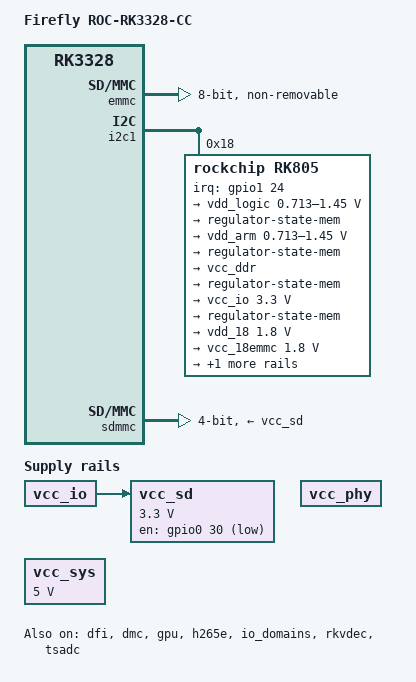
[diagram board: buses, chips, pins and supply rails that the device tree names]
/*
 * Copyright (c) 2016 Fuzhou Rockchip Electronics Co., Ltd
 *
 * This file is dual-licensed: you can use it either under the terms
 * of the GPL or the X11 license, at your option. Note that this dual
 * licensing only applies to this file, and not this project as a
 * whole.
 *
 *  a) This library is free software; you can redistribute it and/or
 *     modify it under the terms of the GNU General Public License as
 *     published by the Free Software Foundation; either version 2 of the
 *     License, or (at your option) any later version.
 *
 *     This library is distributed in the hope that it will be useful,
 *     but WITHOUT ANY WARRANTY; without even the implied warranty of
 *     MERCHANTABILITY or FITNESS FOR A PARTICULAR PURPOSE.  See the
 *     GNU General Public License for more details.
 *
 * Or, alternatively,
 *
 *  b) Permission is hereby granted, free of charge, to any person
 *     obtaining a copy of this software and associated documentation
 *     files (the "Software"), to deal in the Software without
 *     restriction, including without limitation the rights to use,
 *     copy, modify, merge, publish, distribute, sublicense, and/or
 *     sell copies of the Software, and to permit persons to whom the
 *     Software is furnished to do so, subject to the following
 *     conditions:
 *
 *     The above copyright notice and this permission notice shall be
 *     included in all copies or substantial portions of the Software.
 *
 *     THE SOFTWARE IS PROVIDED "AS IS", WITHOUT WARRANTY OF ANY KIND,
 *     EXPRESS OR IMPLIED, INCLUDING BUT NOT LIMITED TO THE WARRANTIES
 *     OF MERCHANTABILITY, FITNESS FOR A PARTICULAR PURPOSE AND
 *     NONINFRINGEMENT. IN NO EVENT SHALL THE AUTHORS OR COPYRIGHT
 *     HOLDERS BE LIABLE FOR ANY CLAIM, DAMAGES OR OTHER LIABILITY,
 *     WHETHER IN AN ACTION OF CONTRACT, TORT OR OTHERWISE, ARISING
 *     FROM, OUT OF OR IN CONNECTION WITH THE SOFTWARE OR THE USE OR
 *     OTHER DEALINGS IN THE SOFTWARE.
 */

/dts-v1/;
#include "rk3328.dtsi"
#include "rk3328-android.dtsi"
#include <dt-bindings/input/input.h>
#include "rk3328-box-plus-dram-timing.dtsi"

/ {
	model = "Firefly ROC-RK3328-CC";
	compatible = "firefly,roc-rk3328-cc", "rockchip,rk3328";
	
	chosen {
		bootargs = "rockchip_jtag earlyprintk=uart8250-32bit,0xff130000 swiotlb=1 kpti=0 console=ttyFIQ0 rw root=PARTUUID=614e0000-0000 rootfstype=ext4 rootwait systemd.gpt_auto=0";
		stdout-path = "serial2:1500000n8";
	};

	fiq-debugger {
		compatible = "rockchip,fiq-debugger";
		rockchip,serial-id = <2>;
		rockchip,signal-irq = <159>;
		rockchip,wake-irq = <0>;
		/* If enable uart uses irq instead of fiq */
		rockchip,irq-mode-enable = <0>;
		rockchip,baudrate = <1500000>;  /* Only 115200 and 1500000 */
		interrupts = <GIC_SPI 127 IRQ_TYPE_LEVEL_LOW>;
		status = "okay";
	};

	vcc_phy: vcc-phy-regulator {
		compatible = "regulator-fixed";
		regulator-name = "vcc_phy";
		regulator-always-on;
		regulator-boot-on;
	};

	vcc_sd: sdmmc-regulator {
		compatible = "regulator-fixed";
		gpio = <&gpio0 30 GPIO_ACTIVE_LOW>;
		pinctrl-names = "default";
		pinctrl-0 = <&sdmmc0m1_gpio>;
		regulator-name = "vcc_sd";
		regulator-min-microvolt = <3300000>;
		regulator-max-microvolt = <3300000>;
		vin-supply = <&vcc_io>;
	};

	vccio_sd: sdmmcio-regulator {
		compatible = "regulator-gpio";
		gpios = <&gpio0 25 GPIO_ACTIVE_HIGH>;
		states = <1800000 0x1
				  3300000 0x0>;
		//pinctrl-names = "default";
		//pinctrl-0 = <&sd_pwr_1800_sel>;
		regulator-name = "vccio_sd";
		regulator-type = "voltage";
		regulator-min-microvolt = <1800000>;
		regulator-max-microvolt = <3300000>;
		status="disabled";
	};

	vcc_sys: vcc-sys {
		compatible = "regulator-fixed";
		regulator-name = "vcc_sys";
		regulator-always-on;
		regulator-boot-on;
		regulator-min-microvolt = <5000000>;
		regulator-max-microvolt = <5000000>;
	};

};

&cpu0 {
	cpu-supply = <&vdd_arm>;
};

&cpu1 {
	cpu-supply = <&vdd_arm>;
};

&cpu2 {
	cpu-supply = <&vdd_arm>;
};

&cpu3 {
	cpu-supply = <&vdd_arm>;
};

&dfi {
	status = "okay";
};

&dmc {
	status = "okay";
	center-supply = <&vdd_logic>;

	system-status-freq = <
		/*system status         freq(KHz)*/
		SYS_STATUS_NORMAL       1024000
		SYS_STATUS_REBOOT       1024000
		SYS_STATUS_SUSPEND      1024000
		SYS_STATUS_VIDEO_1080P  1024000
		SYS_STATUS_VIDEO_4K     1024000
		SYS_STATUS_VIDEO_4K_10B 1024000
		SYS_STATUS_PERFORMANCE  1024000
		SYS_STATUS_BOOST        1024000
	>;
};

&dmc_opp_table {
	status = "okay";

	rockchip,leakage-voltage-sel = <
		1   8     0
		9   254   0
	>;

	opp-400000000 {
		status = "disabled";
	};
	opp-600000000 {
		status = "disabled";
	};

	opp-933000000 {
		opp-hz = /bits/ 64 <933000000>;
		opp-microvolt = <1150000>;
		opp-microvolt-L0 = <1150000>;
		opp-microvolt-L1 = <1100000>;
	};
	opp-1024000000 {
		opp-hz = /bits/ 64 <1024000000>;
		opp-microvolt = <1200000>;
		opp-microvolt-L0 = <1200000>;
		opp-microvolt-L1 = <1175000>;
	};
};


&cpu0_opp_table {

	rockchip,leakage-voltage-sel = <
		1   8     0
		9   254   1
	>;
	nvmem-cells = <&cpu_leakage>;
	nvmem-cell-names = "cpu_leakage";

	opp-408000000 {
		opp-hz = /bits/ 64 <408000000>;
		opp-microvolt = <975000>;
		opp-microvolt-L0 = <975000>;
		opp-microvolt-L1 = <950000>;
		clock-latency-ns = <40000>;
		opp-suspend;
	};
	opp-600000000 {
		opp-hz = /bits/ 64 <600000000>;
		opp-microvolt = <975000>;
		opp-microvolt-L0 = <975000>;
		opp-microvolt-L1 = <950000>;
		clock-latency-ns = <40000>;
	};
	opp-816000000 {
		opp-hz = /bits/ 64 <816000000>;
		opp-microvolt = <1025000>;
		opp-microvolt-L0 = <1025000>;
		opp-microvolt-L1 = <1000000>;
		clock-latency-ns = <40000>;
	};
	opp-1008000000 {
		opp-hz = /bits/ 64 <1008000000>;
		opp-microvolt = <1125000>;
		opp-microvolt-L0 = <1125000>;
		opp-microvolt-L1 = <1100000>;
		clock-latency-ns = <40000>;
	};
	opp-1200000000 {
		opp-hz = /bits/ 64 <1200000000>;
		opp-microvolt = <1250000>;
		opp-microvolt-L0 = <1250000>;
		opp-microvolt-L1 = <1225000>;
		clock-latency-ns = <40000>;
	};
	opp-1296000000 {
		opp-hz = /bits/ 64 <1296000000>;
		opp-microvolt = <1325000>;
		opp-microvolt-L0 = <1325000>;
		opp-microvolt-L1 = <1300000>;
		clock-latency-ns = <40000>;
	};
	opp-1392000000 {
		opp-hz = /bits/ 64 <1392000000>;
		opp-microvolt = <1350000>;
		opp-microvolt-L0 = <1350000>;
		opp-microvolt-L1 = <1325000>;
		clock-latency-ns = <40000>;
	};
	opp-1512000000 {
		status = "disabled";
		opp-hz = /bits/ 64 <1512000000>;
		opp-microvolt = <1350000>;
		opp-microvolt-L0 = <1350000>;
		opp-microvolt-L1 = <1325000>;
		clock-latency-ns = <40000>;
	};
};

&emmc {
	bus-width = <8>;
	cap-mmc-highspeed;
	supports-emmc;
	disable-wp;
	non-removable;
	num-slots = <1>;
	pinctrl-names = "default";
	pinctrl-0 = <&emmc_clk &emmc_cmd &emmc_bus8>;
	status = "okay";
};

&gpu {
	status = "okay";
	mali-supply = <&vdd_logic>;
};

&gpu_opp_table {

	rockchip,leakage-voltage-sel = <
		1   8     0                 
		9   254   1
	>;
	nvmem-cells = <&logic_leakage>;
	nvmem-cell-names = "gpu_leakage";

	opp-200000000 {
			opp-hz = /bits/ 64 <200000000>;
			opp-microvolt = <1050000>;
			opp-microvolt-L0 = <1050000>;
			opp-microvolt-L1 = <1025000>;
	};
	opp-300000000 {
			opp-hz = /bits/ 64 <300000000>;
			opp-microvolt = <1050000>;
			opp-microvolt-L0 = <1050000>;
			opp-microvolt-L1 = <1025000>;
	};
	opp-400000000 {
			opp-hz = /bits/ 64 <400000000>;
			opp-microvolt = <1050000>;
			opp-microvolt-L0 = <1050000>;
			opp-microvolt-L1 = <1025000>;
	};
	opp-500000000 {
			opp-hz = /bits/ 64 <500000000>;
			opp-microvolt = <1125000>;
			opp-microvolt-L0 = <1125000>;
			opp-microvolt-L1 = <1100000>;
	};
};

&i2c1 {
	status = "okay";

	rk805: rk805@18 {
		compatible = "rockchip,rk805";
		status = "okay";
		reg = <0x18>;
		interrupt-parent = <&gpio1>;
		interrupts = <24 IRQ_TYPE_LEVEL_LOW>;
		pinctrl-names = "default";
		pinctrl-0 = <&pmic_int_l>;
		rockchip,system-power-controller;
		wakeup-source;
		gpio-controller;
		#gpio-cells = <2>;
		#clock-cells = <1>;
		clock-output-names = "xin32k", "rk805-clkout2";

		rtc {
			status = "okay";
		};

		pwrkey {
			status = "disabled";
		};

		gpio {
			status = "okay";
		};

		regulators {
			compatible = "rk805-regulator";
			status = "okay";
			#address-cells = <1>;
			#size-cells = <0>;

			vdd_logic: RK805_DCDC1@0 {
				regulator-compatible = "RK805_DCDC1";
				regulator-name = "vdd_logic";
				regulator-min-microvolt = <712500>;
				regulator-max-microvolt = <1450000>;
				regulator-initial-mode = <0x1>;
				regulator-ramp-delay = <12500>;
				regulator-boot-on;
				regulator-always-on;
				regulator-state-mem {
					regulator-mode = <0x2>;
					regulator-on-in-suspend;
					regulator-suspend-microvolt = <1000000>;
				};
			};

			vdd_arm: RK805_DCDC2@1 {
				regulator-compatible = "RK805_DCDC2";
				regulator-name = "vdd_arm";
				regulator-min-microvolt = <712500>;
				regulator-max-microvolt = <1450000>;
				regulator-initial-mode = <0x1>;
				regulator-ramp-delay = <12500>;
				regulator-boot-on;
				regulator-always-on;
				regulator-state-mem {
					regulator-mode = <0x2>;
					regulator-on-in-suspend;
					regulator-suspend-microvolt = <950000>;
				};
			};

			vcc_ddr: RK805_DCDC3@2 {
				regulator-compatible = "RK805_DCDC3";
				regulator-name = "vcc_ddr";
				regulator-initial-mode = <0x1>;
				regulator-boot-on;
				regulator-always-on;
				regulator-state-mem {
					regulator-mode = <0x2>;
					regulator-on-in-suspend;
				};
			};

			vcc_io: RK805_DCDC4@3 {
				regulator-compatible = "RK805_DCDC4";
				regulator-name = "vcc_io";
				regulator-min-microvolt = <3300000>;
				regulator-max-microvolt = <3300000>;
				regulator-initial-mode = <0x1>;
				regulator-boot-on;
				regulator-always-on;
				regulator-state-mem {
					regulator-mode = <0x2>;
					regulator-on-in-suspend;
					regulator-suspend-microvolt = <3300000>;
				};
			};

			vdd_18: RK805_LDO1@4 {
				regulator-compatible = "RK805_LDO1";
				regulator-name = "vdd_18";
				regulator-min-microvolt = <1800000>;
				regulator-max-microvolt = <1800000>;
				regulator-boot-on;
				regulator-always-on;
				regulator-state-mem {
					regulator-on-in-suspend;
					regulator-suspend-microvolt = <1800000>;
				};
			};

			vcc_18emmc: RK805_LDO2@5 {
				regulator-compatible = "RK805_LDO2";
				regulator-name = "vcc_18emmc";
				regulator-min-microvolt = <1800000>;
				regulator-max-microvolt = <1800000>;
				regulator-boot-on;
				regulator-always-on;
				regulator-state-mem {
					regulator-on-in-suspend;
					regulator-suspend-microvolt = <1800000>;
				};
			};

			vdd_10: RK805_LDO3@6 {
				regulator-compatible = "RK805_LDO3";
				regulator-name = "vdd_10";
				regulator-min-microvolt = <1000000>;
				regulator-max-microvolt = <1000000>;
				regulator-boot-on;
				regulator-always-on;
				regulator-state-mem {
					regulator-on-in-suspend;
					regulator-suspend-microvolt = <1000000>;
				};
			};
		};
	};
};

&h265e {
	status = "okay";
};
&io_domains {
	status = "okay";

	vccio1-supply = <&vcc_io>;
	vccio2-supply = <&vcc_18emmc>;
	//vccio3-supply = <&vccio_sd>;
	vccio3-supply = <&vcc_io>;
	vccio4-supply = <&vdd_18>;
	vccio5-supply = <&vcc_io>;
	vccio6-supply = <&vcc_io>;
	pmuio-supply = <&vcc_io>;
};

&pinctrl {
	pmic {
		pmic_int_l: pmic-int-l {
		rockchip,pins =
			<1 RK_PD0 RK_FUNC_GPIO &pcfg_pull_up>;	/* gpio1_d0 */
		};
	};

};

&rkvdec {
	status = "okay";
};

&sdmmc {
	bus-width = <4>;
	cap-mmc-highspeed;
	cap-sd-highspeed;
	disable-wp;
	clock-freq-min-max = <400000 80000000>;
	clocks = <&cru HCLK_SDMMC>, <&cru SCLK_SDMMC>,
			 <&cru SCLK_SDMMC_DRV>, <&cru SCLK_SDMMC_SAMPLE>;
	clock-names = "biu", "ciu", "ciu-drive", "ciu-sample";
	num-slots = <1>;
	pinctrl-names = "default";
	pinctrl-0 = <&sdmmc0_clk &sdmmc0_cmd &sdmmc0_dectn &sdmmc0_bus4>;
	supports-sd;
	status = "okay";
	vmmc-supply = <&vcc_sd>;
};

&tsadc {
	status = "okay";
};


